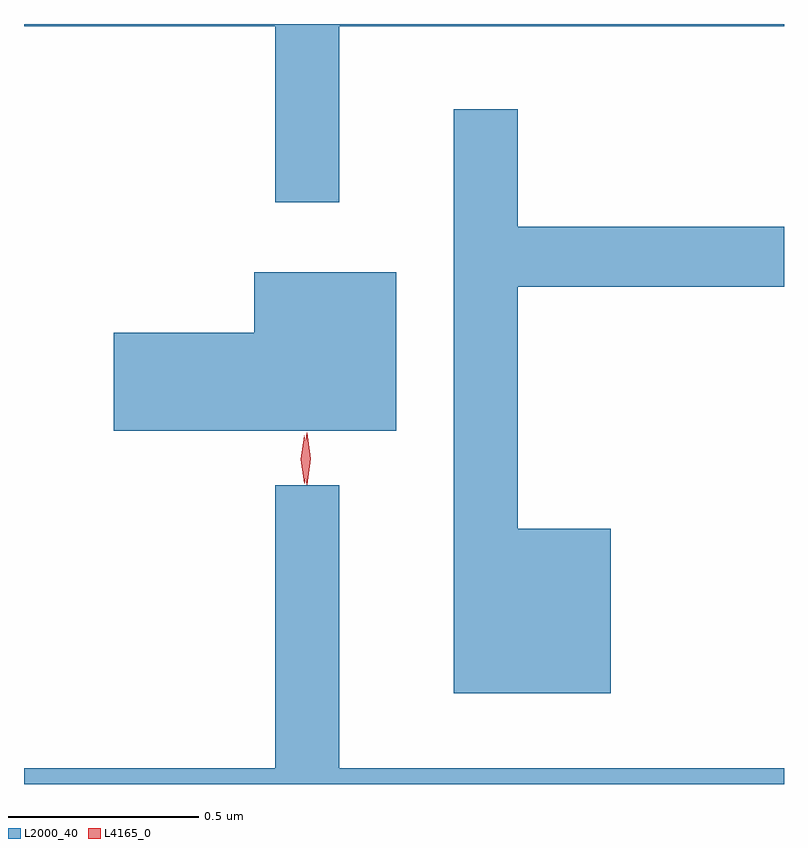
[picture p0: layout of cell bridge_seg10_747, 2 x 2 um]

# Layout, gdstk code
import gdstk
lib = gdstk.Library(unit=1e-6, precision=1e-09)
def P(c, l, *ps):  # polygons
    for p in ps: c.add(gdstk.Polygon(p, *l))
L2000_40 = (2000, 40)
L4165_0 = (4165, 0)

bridge_seg10_747 = lib.new_cell('bridge_seg10_747')
P(bridge_seg10_747, L2000_40, [(912.969,2125.016),(914.14,2125.016),(914.14,2125.022),(912.14,2125.022),(912.14,2125.016),(912.801,2125.016),(912.801,2124.553),(912.969,2124.553)],
  [(913.684,2123.694),(913.439,2123.694),(913.439,2124.331),(914.14,2124.331),(914.14,2124.489),(913.439,2124.489),(913.439,2124.798),(913.271,2124.798),(913.271,2123.261),(913.684,2123.261)],
  [(913.119,2124.369),(912.746,2124.369),(912.746,2124.209),(912.376,2124.209),(912.376,2123.951),(913.119,2123.951)],
  [(914.14,2123.064),(912.969,2123.064),(912.969,2123.808),(912.801,2123.808),(912.801,2123.064),(912.14,2123.064),(912.14,2123.022),(914.14,2123.022)])
P(bridge_seg10_747, L4165_0, [(912.879,2123.813),(912.878,2123.814),(912.868,2123.876),(912.878,2123.939),(912.878,2123.94),(912.878,2123.939),(912.888,2123.876),(912.879,2123.814)],
  [(912.884,2123.81),(912.875,2123.878),(912.884,2123.946),(912.884,2123.946),(912.885,2123.946),(912.894,2123.878),(912.885,2123.81),(912.885,2123.81)])

lib.write_gds('bridge_seg10_747.gds')
